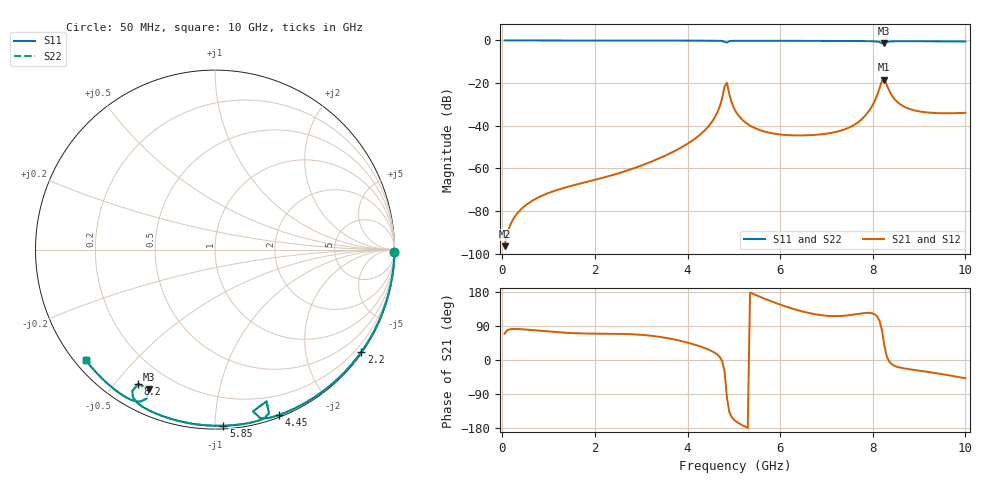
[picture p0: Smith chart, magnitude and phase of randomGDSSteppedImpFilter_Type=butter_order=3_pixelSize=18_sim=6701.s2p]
! freq	dB(S11)	phase(S11)	dB(S12)	phase(S12)
!  dB(S21)	phase(S21)	dB(S22)	phase(S22)
!S-par simulation data
#  GHz  S  DB  R 50
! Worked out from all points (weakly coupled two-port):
!   200 points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, 50 MHz to 10 GHz, reference 50 ohm
!   highest |S21| = -18.33 dB at 8.25 GHz (marker M1); lowest = -96.5 dB at 50 MHz (marker M2)
!   lowest |S11| = -1.3 dB at 8.25 GHz (marker M3), VSWR 13.35, Z = 5.24 - j31.4 ohm
!   |S11| at or under -10 dB: nowhere
!   |S22| runs from -1.3 to 0.0 dB; largest |S21 - S12| = 0
!   S11 on the Smith chart (normalised r, x): 50 MHz: open; 2.2 GHz: 0.03, -3.18; 4.45 GHz: 0.02, -1.46; 5.85 GHz: 0.02, -1.05; 8.2 GHz: 0.10, -0.58; 10 GHz: 0.03, -0.37
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0.05  -0.00 -0.8  -96.52 69.5  -96.52 69.5  -0.00 -0.8
0.35  -0.00 -5.7  -80.45 81.7  -80.45 81.7  -0.00 -5.7
0.9  -0.02 -14.5  -72.43 76.1  -72.43 76.1  -0.02 -14.5
1.75  -0.04 -27.9  -66.74 70.0  -66.74 70.0  -0.04 -27.9
2.2  -0.04 -34.9  -64.25 69.3  -64.25 69.3  -0.04 -34.9
3.4  -0.07 -53.2  -55.18 61.0  -55.18 61.0  -0.07 -53.2
4.45  -0.10 -68.9  -40.36 27.6  -40.36 27.6  -0.10 -68.9
4.65  -0.14 -72.4  -33.46 13.6  -33.46 13.6  -0.14 -72.4
4.85  -0.98 -71.3  -19.83 -98.2  -19.83 -98.2  -0.98 -71.2
4.95  -0.21 -73.3  -28.94 -149.8  -28.94 -149.8  -0.21 -73.3
5.05  -0.15 -75.5  -33.65 -162.3  -33.65 -162.3  -0.15 -75.5
5.35  -0.14 -80.3  -39.97 178.0  -39.97 178.0  -0.14 -80.3
5.85  -0.15 -87.3  -43.66 152.9  -43.66 152.9  -0.15 -87.3
6.7  -0.20 -98.7  -44.37 122.0  -44.37 122.0  -0.20 -98.7
7.7  -0.28 -112.1  -38.07 122.1  -38.07 122.1  -0.28 -112.1
8  -0.38 -116.9  -30.20 122.7  -30.20 122.7  -0.38 -116.9
8.2  -1.29 -119.8  -18.93 77.0  -18.93 77.0  -1.29 -119.8
8.25  -1.30 -115.3  -18.33 38.2  -18.33 38.2  -1.30 -115.3
8.35  -0.53 -116.0  -23.34 -3.1  -23.34 -3.1  -0.53 -116.0
8.55  -0.35 -120.3  -29.24 -18.9  -29.24 -18.9  -0.35 -120.3
8.85  -0.36 -124.7  -32.52 -25.3  -32.52 -25.3  -0.36 -124.7
10  -0.47 -139.3  -33.95 -48.4  -33.95 -48.4  -0.47 -139.3
